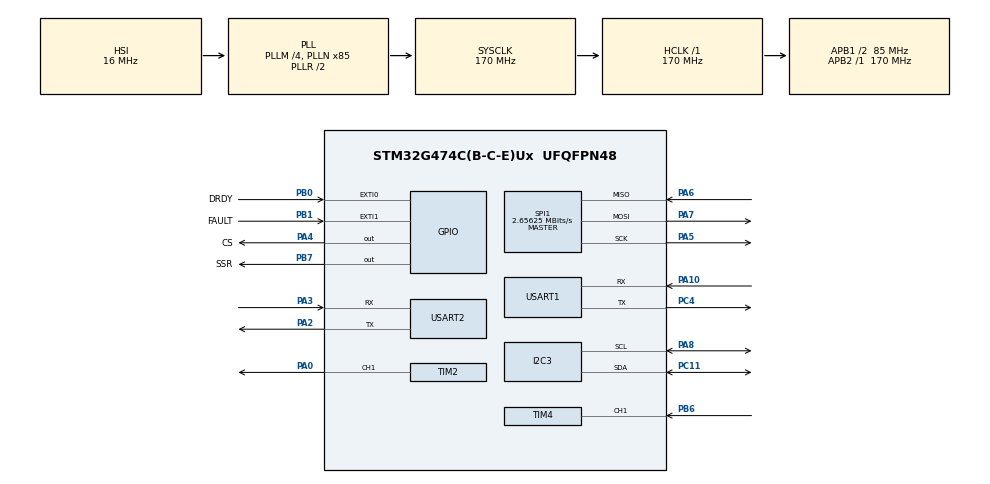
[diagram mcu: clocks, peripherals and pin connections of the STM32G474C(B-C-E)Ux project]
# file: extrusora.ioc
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Dma.Request0=USART1_RX
Dma.Request1=USART1_TX
Dma.Request2=USART2_RX
Dma.Request3=USART2_TX
Dma.USART1_RX.0.Direction=DMA_PERIPH_TO_MEMORY
Dma.USART1_RX.0.EventEnable=DISABLE
Dma.USART1_RX.0.Instance=DMA1_Channel1
Dma.USART1_RX.0.MemDataAlignment=DMA_MDATAALIGN_BYTE
Dma.USART1_RX.0.MemInc=DMA_MINC_ENABLE
Dma.USART1_RX.0.Mode=DMA_CIRCULAR
Dma.USART1_RX.0.PeriphDataAlignment=DMA_PDATAALIGN_BYTE
Dma.USART1_RX.0.PeriphInc=DMA_PINC_DISABLE
Dma.USART1_RX.0.Polarity=HAL_DMAMUX_REQ_GEN_RISING
Dma.USART1_RX.0.Priority=DMA_PRIORITY_HIGH
Dma.USART1_RX.0.RequestNumber=1
Dma.USART1_RX.0.SignalID=NONE
Dma.USART1_RX.0.SyncEnable=DISABLE
Dma.USART1_RX.0.SyncPolarity=HAL_DMAMUX_SYNC_NO_EVENT
Dma.USART1_RX.0.SyncRequestNumber=1
Dma.USART1_RX.0.SyncSignalID=NONE
Dma.USART1_TX.1.Direction=DMA_MEMORY_TO_PERIPH
Dma.USART1_TX.1.EventEnable=DISABLE
Dma.USART1_TX.1.Instance=DMA1_Channel2
Dma.USART1_TX.1.MemDataAlignment=DMA_MDATAALIGN_BYTE
Dma.USART1_TX.1.MemInc=DMA_MINC_ENABLE
Dma.USART1_TX.1.Mode=DMA_NORMAL
Dma.USART1_TX.1.PeriphDataAlignment=DMA_PDATAALIGN_BYTE
Dma.USART1_TX.1.PeriphInc=DMA_PINC_DISABLE
Dma.USART1_TX.1.Polarity=HAL_DMAMUX_REQ_GEN_RISING
Dma.USART1_TX.1.Priority=DMA_PRIORITY_MEDIUM
Dma.USART1_TX.1.RequestNumber=1
Dma.USART1_TX.1.SignalID=NONE
Dma.USART1_TX.1.SyncEnable=DISABLE
Dma.USART1_TX.1.SyncPolarity=HAL_DMAMUX_SYNC_NO_EVENT
Dma.USART1_TX.1.SyncRequestNumber=1
Dma.USART1_TX.1.SyncSignalID=NONE
Dma.USART2_RX.2.Direction=DMA_PERIPH_TO_MEMORY
Dma.USART2_RX.2.EventEnable=DISABLE
Dma.USART2_RX.2.Instance=DMA1_Channel3
Dma.USART2_RX.2.MemDataAlignment=DMA_MDATAALIGN_BYTE
Dma.USART2_RX.2.MemInc=DMA_MINC_ENABLE
Dma.USART2_RX.2.Mode=DMA_CIRCULAR
Dma.USART2_RX.2.PeriphDataAlignment=DMA_PDATAALIGN_BYTE
Dma.USART2_RX.2.PeriphInc=DMA_PINC_DISABLE
Dma.USART2_RX.2.Polarity=HAL_DMAMUX_REQ_GEN_RISING
Dma.USART2_RX.2.Priority=DMA_PRIORITY_HIGH
Dma.USART2_RX.2.RequestNumber=1
Dma.USART2_RX.2.SignalID=NONE
Dma.USART2_RX.2.SyncEnable=DISABLE
Dma.USART2_RX.2.SyncPolarity=HAL_DMAMUX_SYNC_NO_EVENT
Dma.USART2_RX.2.SyncRequestNumber=1
Dma.USART2_RX.2.SyncSignalID=NONE
Dma.USART2_TX.3.Direction=DMA_MEMORY_TO_PERIPH
Dma.USART2_TX.3.EventEnable=DISABLE
Dma.USART2_TX.3.Instance=DMA1_Channel4
Dma.USART2_TX.3.MemDataAlignment=DMA_MDATAALIGN_BYTE
Dma.USART2_TX.3.MemInc=DMA_MINC_ENABLE
Dma.USART2_TX.3.Mode=DMA_NORMAL
Dma.USART2_TX.3.PeriphDataAlignment=DMA_PDATAALIGN_BYTE
Dma.USART2_TX.3.PeriphInc=DMA_PINC_DISABLE
Dma.USART2_TX.3.Polarity=HAL_DMAMUX_REQ_GEN_RISING
Dma.USART2_TX.3.Priority=DMA_PRIORITY_MEDIUM
Dma.USART2_TX.3.RequestNumber=1
Dma.USART2_TX.3.SignalID=NONE
Dma.USART2_TX.3.SyncEnable=DISABLE
Dma.USART2_TX.3.SyncPolarity=HAL_DMAMUX_SYNC_NO_EVENT
Dma.USART2_TX.3.SyncRequestNumber=1
Dma.USART2_TX.3.SyncSignalID=NONE
FREERTOS.Mutexes01=ProcessDataMutex,Dynamic,NULL,Available
FREERTOS.Queues01=RxRPi5Queue,16,64,1,Dynamic,NULL,NULL;TxRPi5Queue,8,128,1,Dynamic,NULL,NULL;RxSTM32Queue,16,64,1,Dynamic,NULL,NULL;TxSTM32Queue,8,128,1,Dynamic,NULL,NULL
FREERTOS.Tasks01=defaultTask,8,128,StartDefaultTask,Default,NULL,Dynamic,NULL,NULL;SafetyTask,40,512,StartSafetyTask,Default,NULL,Dynamic,NULL,NULL;ControlTask,32,512,StartControlTask,Default,NULL,Dynamic,NULL,NULL;MotionTask,24,768,StartMotionTask,Default,NULL,Dynamic,NULL,NULL;CommTask,24,1024,StartCommTask,Default,NULL,Dynamic,NULL,NULL;ThermalTask,24,1024,StartThermalTask,Default,NULL,Dynamic,NULL,NULL;DisplayTask,8,1024,StartDisplayTask,Default,NULL,Dynamic,NULL,NULL
FREERTOS.configCHECK_FOR_STACK_OVERFLOW=2
FREERTOS.configMINIMAL_STACK_SIZE=128
FREERTOS.configTOTAL_HEAP_SIZE=65536
FREERTOS.configUSE_MALLOC_FAILED_HOOK=1
FREERTOS.configUSE_NEWLIB_REENTRANT=1
I2C3.Timing=0x10E1A6F2
Mcu.Family=STM32G4
Mcu.Name=STM32G474C(B-C-E)Ux
Mcu.Package=UFQFPN48
NVIC.DMA1_Channel1_IRQn=true\:5\:0\:true\:false\:true\:true\:false\:true\:true
NVIC.DMA1_Channel2_IRQn=true\:5\:0\:true\:false\:true\:true\:false\:true\:true
NVIC.DMA1_Channel3_IRQn=true\:5\:0\:false\:false\:true\:true\:false\:true\:true
NVIC.DMA1_Channel4_IRQn=true\:5\:0\:false\:false\:true\:true\:false\:true\:true
NVIC.EXTI0_IRQn=true\:5\:0\:true\:false\:true\:true\:true\:true\:true
NVIC.EXTI1_IRQn=true\:5\:0\:true\:false\:true\:true\:true\:true\:true
NVIC.PriorityGroup=NVIC_PRIORITYGROUP_4
NVIC.TIM4_IRQn=true\:5\:0\:false\:false\:true\:true\:true\:true\:true
NVIC.TIM6_DAC_IRQn=true\:15\:0\:false\:false\:true\:false\:false\:true\:true
NVIC.TIM7_DAC_IRQn=true\:5\:0\:false\:false\:true\:true\:true\:true\:true
NVIC.TimeBase=TIM6_DAC_IRQn
NVIC.TimeBaseIP=TIM6
NVIC.USART1_IRQn=true\:5\:0\:true\:false\:true\:true\:false\:true\:true
NVIC.USART2_IRQn=true\:5\:0\:false\:false\:true\:true\:true\:true\:true
PA0.Signal=S_TIM2_CH1
PA10.Mode=Asynchronous
PA10.Signal=USART1_RX
PA13.Mode=Serial_Wire
PA13.Signal=SYS_JTMS-SWDIO
PA14.Mode=Serial_Wire
PA14.Signal=SYS_JTCK-SWCLK
PA2.Mode=Asynchronous
PA2.Signal=USART2_TX
PA3.Mode=Asynchronous
PA3.Signal=USART2_RX
PA4.GPIO_Label=CS
PA4.PinState=GPIO_PIN_SET
PA4.Signal=GPIO_Output
PA5.GPIO_Speed=GPIO_SPEED_FREQ_VERY_HIGH
PA5.Mode=Full_Duplex_Master
PA5.Signal=SPI1_SCK
PA6.GPIO_Speed=GPIO_SPEED_FREQ_VERY_HIGH
PA6.Mode=Full_Duplex_Master
PA6.Signal=SPI1_MISO
PA7.GPIO_Speed=GPIO_SPEED_FREQ_VERY_HIGH
PA7.Mode=Full_Duplex_Master
PA7.Signal=SPI1_MOSI
PA8.Mode=I2C
PA8.Signal=I2C3_SCL
PB0.GPIO_Label=DRDY
PB0.GPIO_ModeDefaultEXTI=GPIO_MODE_IT_FALLING
PB0.GPIO_PuPd=GPIO_PULLUP
PB0.Signal=GPXTI0
PB1.GPIO_Label=FAULT
PB1.GPIO_ModeDefaultEXTI=GPIO_MODE_IT_FALLING
PB1.GPIO_PuPd=GPIO_PULLUP
PB1.Signal=GPXTI1
PB6.Signal=S_TIM4_CH1
PB7.GPIO_Label=SSR
PB7.GPIO_PuPd=GPIO_NOPULL
PB7.Signal=GPIO_Output
PC11.Mode=I2C
PC11.Signal=I2C3_SDA
PC4.Mode=Asynchronous
PC4.Signal=USART1_TX
ProjectManager.HeapSize=0x200
ProjectManager.StackSize=0x400
ProjectManager.TargetToolchain=STM32CubeIDE
RCC.ADC12Freq_Value=170000000
RCC.ADC345Freq_Value=170000000
RCC.AHBFreq_Value=170000000
RCC.APB1CLKDivider=RCC_HCLK_DIV2
RCC.APB1Freq_Value=85000000
RCC.APB1TimFreq_Value=170000000
RCC.APB2Freq_Value=170000000
RCC.APB2TimFreq_Value=170000000
RCC.CortexFreq_Value=170000000
RCC.EXTERNAL_CLOCK_VALUE=12288000
RCC.HCLKFreq_Value=170000000
RCC.HSE_VALUE=8000000
RCC.HSI48_VALUE=48000000
RCC.HSI_VALUE=16000000
RCC.LSE_VALUE=32768
RCC.PLLM=RCC_PLLM_DIV4
RCC.PLLN=85
RCC.SYSCLKFreq_VALUE=170000000
RCC.SYSCLKSource=RCC_SYSCLKSOURCE_PLLCLK
RCC.USBFreq_Value=170000000
RCC.VCOOutputFreq_Value=340000000
SH.S_TIM2_CH1.0=TIM2_CH1,PWM Generation1 CH1
SH.S_TIM4_CH1.0=TIM4_CH1,Input_Capture1_from_TI1
SPI1.BaudRatePrescaler=SPI_BAUDRATEPRESCALER_64
SPI1.CLKPhase=SPI_PHASE_2EDGE
SPI1.CalculateBaudRate=2.65625 MBits/s
SPI1.DataSize=SPI_DATASIZE_8BIT
SPI1.Direction=SPI_DIRECTION_2LINES
SPI1.Mode=SPI_MODE_MASTER
SPI1.VirtualType=VM_MASTER
TIM2.AutoReloadPreload=TIM_AUTORELOAD_PRELOAD_ENABLE
TIM2.Channel-PWM\ Generation1\ CH1=TIM_CHANNEL_1
TIM2.PeriodNoDither=9999
TIM2.Prescaler=169
TIM2.PulseNoDither_1=5000
TIM4.Channel-Input_Capture1_from_TI1=TIM_CHANNEL_1
TIM4.ICFilter_CH1=8
TIM4.ICPolarity_CH1=TIM_INPUTCHANNELPOLARITY_FALLING
TIM4.Prescaler=169
TIM7.AutoReloadPreload=TIM_AUTORELOAD_PRELOAD_ENABLE
TIM7.PeriodNoDither=99
TIM7.Prescaler=16999
USART1.VirtualMode-Asynchronous=VM_ASYNC
USART2.VirtualMode-Asynchronous=VM_ASYNC
VP_FREERTOS_VS_CMSIS_V2.Mode=CMSIS_V2
VP_SYS_VS_DBSignals.Mode=DisableDeadBatterySignals
VP_SYS_VS_tim6.Mode=TIM6
VP_TIM2_VS_ClockSourceINT.Mode=Internal
VP_TIM4_VS_ClockSourceINT.Mode=Internal
VP_TIM7_VS_ClockSourceINT.Mode=Enable_Timer
board=custom

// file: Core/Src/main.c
/* USER CODE BEGIN Header */
/**
  ******************************************************************************
  * @file           : main.c
  * @brief          : Main program body
  ******************************************************************************
  * @attention
  *
  * Copyright (c) 2026 STMicroelectronics.
  * All rights reserved.
  *
  * This software is licensed under terms that can be found in the LICENSE file
  * in the root directory of this software component.
  * If no LICENSE file comes with this software, it is provided AS-IS.
  *
  ******************************************************************************
  */
/* USER CODE END Header */
#include "main.h"
#include "cmsis_os.h"

/* USER CODE BEGIN Includes */
#include "process_data.h"
#include "safety.h"
#include "wrapper_fsm.h"
#include "uart_driver.h"
#include "protocol_hmi.h"
#include "protocol_winder.h"
#include "temperature_control.h"
#include "motor_control.h"
#include <stdio.h>
/* USER CODE END Includes */

I2C_HandleTypeDef hi2c3;

SPI_HandleTypeDef hspi1;

TIM_HandleTypeDef htim2;
TIM_HandleTypeDef htim4;
TIM_HandleTypeDef htim7;

UART_HandleTypeDef huart1;
UART_HandleTypeDef huart2;
DMA_HandleTypeDef hdma_usart1_rx;
DMA_HandleTypeDef hdma_usart1_tx;
DMA_HandleTypeDef hdma_usart2_rx;
DMA_HandleTypeDef hdma_usart2_tx;

/* Definitions for defaultTask */
osThreadId_t defaultTaskHandle;
const osThreadAttr_t defaultTask_attributes = {
  .name = "defaultTask",
  .priority = (osPriority_t) osPriorityLow,
  .stack_size = 128 * 4
};
/* Definitions for SafetyTask */
osThreadId_t SafetyTaskHandle;
const osThreadAttr_t SafetyTask_attributes = {
  .name = "SafetyTask",
  .priority = (osPriority_t) osPriorityHigh,
  .stack_size = 512 * 4
};
/* Definitions for ControlTask */
osThreadId_t ControlTaskHandle;
const osThreadAttr_t ControlTask_attributes = {
  .name = "ControlTask",
  .priority = (osPriority_t) osPriorityAboveNormal,
  .stack_size = 512 * 4
};
/* Definitions for MotionTask */
osThreadId_t MotionTaskHandle;
const osThreadAttr_t MotionTask_attributes = {
  .name = "MotionTask",
  .priority = (osPriority_t) osPriorityNormal,
  .stack_size = 768 * 4
};
/* Definitions for CommTask */
osThreadId_t CommTaskHandle;
const osThreadAttr_t CommTask_attributes = {
  .name = "CommTask",
  .priority = (osPriority_t) osPriorityNormal,
  .stack_size = 1024 * 4
};
/* Definitions for ThermalTask */
osThreadId_t ThermalTaskHandle;
const osThreadAttr_t ThermalTask_attributes = {
  .name = "ThermalTask",
  .priority = (osPriority_t) osPriorityNormal,
  .stack_size = 1024 * 4
};
/* Definitions for DisplayTask */
osThreadId_t DisplayTaskHandle;
const osThreadAttr_t DisplayTask_attributes = {
  .name = "DisplayTask",
  .priority = (osPriority_t) osPriorityLow,
  .stack_size = 1024 * 4
};
/* Definitions for RxRPi5Queue */
osMessageQueueId_t RxRPi5QueueHandle;
const osMessageQueueAttr_t RxRPi5Queue_attributes = {
  .name = "RxRPi5Queue"
};
/* Definitions for TxRPi5Queue */
osMessageQueueId_t TxRPi5QueueHandle;
const osMessageQueueAttr_t TxRPi5Queue_attributes = {
  .name = "TxRPi5Queue"
};
/* Definitions for RxSTM32Queue */
osMessageQueueId_t RxSTM32QueueHandle;
const osMessageQueueAttr_t RxSTM32Queue_attributes = {
  .name = "RxSTM32Queue"
};
/* Definitions for TxSTM32Queue */
osMessageQueueId_t TxSTM32QueueHandle;
const osMessageQueueAttr_t TxSTM32Queue_attributes = {
  .name = "TxSTM32Queue"
};
/* Definitions for ProcessDataMutex */
osMutexId_t ProcessDataMutexHandle;
const osMutexAttr_t ProcessDataMutex_attributes = {
  .name = "ProcessDataMutex"
};
/* USER CODE BEGIN PV */
static UartDriver_t uart_hmi;
static UartDriver_t uart_winder;
/* USER CODE END PV */

void SystemClock_Config(void);
static void MX_GPIO_Init(void);
static void MX_DMA_Init(void);
static void MX_USART1_UART_Init(void);
static void MX_SPI1_Init(void);
static void MX_TIM2_Init(void);
static void MX_TIM7_Init(void);
static void MX_USART2_UART_Init(void);
static void MX_I2C3_Init(void);
static void MX_TIM4_Init(void);
void StartDefaultTask(void *argument);
void StartSafetyTask(void *argument);
void StartControlTask(void *argument);
void StartMotionTask(void *argument);
void StartCommTask(void *argument);
void StartThermalTask(void *argument);
void StartDisplayTask(void *argument);

int main(void)
{

  /* MCU Configuration--------------------------------------------------------*/

  /* Reset of all peripherals, Initializes the Flash interface and the Systick. */
  HAL_Init();

  /* Configure the system clock */
  SystemClock_Config();

  /* Initialize all configured peripherals */
  MX_GPIO_Init();
  MX_DMA_Init();
  MX_USART1_UART_Init();
  MX_SPI1_Init();
  MX_TIM2_Init();
  MX_TIM7_Init();
  MX_USART2_UART_Init();
  MX_I2C3_Init();
  MX_TIM4_Init();
  /* USER CODE BEGIN 2 */
  ProcessData_Init();
  Safety_Init();
  ExtruderFSM_Init();
  MotorControl_Init();
  TemperatureControl_Init(&hspi1);
  /* USER CODE END 2 */

  /* Init scheduler */
  osKernelInitialize();
  /* Create the mutex(es) */
  /* creation of ProcessDataMutex */
  ProcessDataMutexHandle = osMutexNew(&ProcessDataMutex_attributes);

  /* Create the queue(s) */
  /* creation of RxRPi5Queue */
  RxRPi5QueueHandle = osMessageQueueNew (16, 64, &RxRPi5Queue_attributes);

  /* creation of TxRPi5Queue */
  TxRPi5QueueHandle = osMessageQueueNew (8, 128, &TxRPi5Queue_attributes);

  /* creation of RxSTM32Queue */
  RxSTM32QueueHandle = osMessageQueueNew (16, 64, &RxSTM32Queue_attributes);

  /* creation of TxSTM32Queue */
  TxSTM32QueueHandle = osMessageQueueNew (8, 128, &TxSTM32Queue_attributes);

  /* Create the thread(s) */
  /* creation of defaultTask */
  defaultTaskHandle = osThreadNew(StartDefaultTask, NULL, &defaultTask_attributes);

  /* creation of SafetyTask */
  SafetyTaskHandle = osThreadNew(StartSafetyTask, NULL, &SafetyTask_attributes);

  /* creation of ControlTask */
  ControlTaskHandle = osThreadNew(StartControlTask, NULL, &ControlTask_attributes);

  /* creation of MotionTask */
  MotionTaskHandle = osThreadNew(StartMotionTask, NULL, &MotionTask_attributes);

  /* creation of CommTask */
  CommTaskHandle = osThreadNew(StartCommTask, NULL, &CommTask_attributes);

  /* creation of ThermalTask */
  ThermalTaskHandle = osThreadNew(StartThermalTask, NULL, &ThermalTask_attributes);

  /* creation of DisplayTask */
  DisplayTaskHandle = osThreadNew(StartDisplayTask, NULL, &DisplayTask_attributes);

  /* Start scheduler */
  osKernelStart();

  /* We should never get here as control is now taken by the scheduler */

  /* Infinite loop */
  while (1)
  {

  }
}

void SystemClock_Config(void)
{
  RCC_OscInitTypeDef RCC_OscInitStruct = {0};
  RCC_ClkInitTypeDef RCC_ClkInitStruct = {0};

  /** Configure the main internal regulator output voltage
  */
  HAL_PWREx_ControlVoltageScaling(PWR_REGULATOR_VOLTAGE_SCALE1_BOOST);

  /** Initializes the RCC Oscillators according to the specified parameters
  * in the RCC_OscInitTypeDef structure.
  */
  RCC_OscInitStruct.OscillatorType = RCC_OSCILLATORTYPE_HSI;
  RCC_OscInitStruct.HSIState = RCC_HSI_ON;
  RCC_OscInitStruct.HSICalibrationValue = RCC_HSICALIBRATION_DEFAULT;
  RCC_OscInitStruct.PLL.PLLState = RCC_PLL_ON;
  RCC_OscInitStruct.PLL.PLLSource = RCC_PLLSOURCE_HSI;
  RCC_OscInitStruct.PLL.PLLM = RCC_PLLM_DIV4;
  RCC_OscInitStruct.PLL.PLLN = 85;
  RCC_OscInitStruct.PLL.PLLP = RCC_PLLP_DIV2;
  RCC_OscInitStruct.PLL.PLLQ = RCC_PLLQ_DIV2;
  RCC_OscInitStruct.PLL.PLLR = RCC_PLLR_DIV2;
  if (HAL_RCC_OscConfig(&RCC_OscInitStruct) != HAL_OK)
  {
    Error_Handler();
  }

  /** Initializes the CPU, AHB and APB buses clocks
  */
  RCC_ClkInitStruct.ClockType = RCC_CLOCKTYPE_HCLK|RCC_CLOCKTYPE_SYSCLK
                              |RCC_CLOCKTYPE_PCLK1|RCC_CLOCKTYPE_PCLK2;
  RCC_ClkInitStruct.SYSCLKSource = RCC_SYSCLKSOURCE_PLLCLK;
  RCC_ClkInitStruct.AHBCLKDivider = RCC_SYSCLK_DIV1;
  RCC_ClkInitStruct.APB1CLKDivider = RCC_HCLK_DIV2;
  RCC_ClkInitStruct.APB2CLKDivider = RCC_HCLK_DIV1;

  if (HAL_RCC_ClockConfig(&RCC_ClkInitStruct, FLASH_LATENCY_4) != HAL_OK)
  {
    Error_Handler();
  }
}

static void MX_I2C3_Init(void)
{

  hi2c3.Instance = I2C3;
  hi2c3.Init.Timing = 0x10E1A6F2;
  hi2c3.Init.OwnAddress1 = 0;
  hi2c3.Init.AddressingMode = I2C_ADDRESSINGMODE_7BIT;
  hi2c3.Init.DualAddressMode = I2C_DUALADDRESS_DISABLE;
  hi2c3.Init.OwnAddress2 = 0;
  hi2c3.Init.OwnAddress2Masks = I2C_OA2_NOMASK;
  hi2c3.Init.GeneralCallMode = I2C_GENERALCALL_DISABLE;
  hi2c3.Init.NoStretchMode = I2C_NOSTRETCH_DISABLE;
  if (HAL_I2C_Init(&hi2c3) != HAL_OK)
  {
    Error_Handler();
  }

  /** Configure Analogue filter
  */
  if (HAL_I2CEx_ConfigAnalogFilter(&hi2c3, I2C_ANALOGFILTER_ENABLE) != HAL_OK)
  {
    Error_Handler();
  }

  /** Configure Digital filter
  */
  if (HAL_I2CEx_ConfigDigitalFilter(&hi2c3, 0) != HAL_OK)
  {
    Error_Handler();
  }

}

static void MX_SPI1_Init(void)
{

  /* SPI1 parameter configuration*/
  hspi1.Instance = SPI1;
  hspi1.Init.Mode = SPI_MODE_MASTER;
  hspi1.Init.Direction = SPI_DIRECTION_2LINES;
  hspi1.Init.DataSize = SPI_DATASIZE_8BIT;
  hspi1.Init.CLKPolarity = SPI_POLARITY_LOW;
  hspi1.Init.CLKPhase = SPI_PHASE_2EDGE;
  hspi1.Init.NSS = SPI_NSS_SOFT;
  hspi1.Init.BaudRatePrescaler = SPI_BAUDRATEPRESCALER_64;
  hspi1.Init.FirstBit = SPI_FIRSTBIT_MSB;
  hspi1.Init.TIMode = SPI_TIMODE_DISABLE;
  hspi1.Init.CRCCalculation = SPI_CRCCALCULATION_DISABLE;
  hspi1.Init.CRCPolynomial = 7;
  hspi1.Init.CRCLength = SPI_CRC_LENGTH_DATASIZE;
  hspi1.Init.NSSPMode = SPI_NSS_PULSE_DISABLE;
  if (HAL_SPI_Init(&hspi1) != HAL_OK)
  {
    Error_Handler();
  }

}

static void MX_TIM2_Init(void)
{

  TIM_ClockConfigTypeDef sClockSourceConfig = {0};
  TIM_MasterConfigTypeDef sMasterConfig = {0};
  TIM_OC_InitTypeDef sConfigOC = {0};

  htim2.Instance = TIM2;
  htim2.Init.Prescaler = 169;
  htim2.Init.CounterMode = TIM_COUNTERMODE_UP;
  htim2.Init.Period = 9999;
  htim2.Init.ClockDivision = TIM_CLOCKDIVISION_DIV1;
  htim2.Init.AutoReloadPreload = TIM_AUTORELOAD_PRELOAD_ENABLE;
  if (HAL_TIM_Base_Init(&htim2) != HAL_OK)
  {
    Error_Handler();
  }
  sClockSourceConfig.ClockSource = TIM_CLOCKSOURCE_INTERNAL;
  if (HAL_TIM_ConfigClockSource(&htim2, &sClockSourceConfig) != HAL_OK)
  {
    Error_Handler();
  }
  if (HAL_TIM_PWM_Init(&htim2) != HAL_OK)
  {
    Error_Handler();
  }
  sMasterConfig.MasterOutputTrigger = TIM_TRGO_RESET;
  sMasterConfig.MasterSlaveMode = TIM_MASTERSLAVEMODE_DISABLE;
  if (HAL_TIMEx_MasterConfigSynchronization(&htim2, &sMasterConfig) != HAL_OK)
  {
    Error_Handler();
  }
  sConfigOC.OCMode = TIM_OCMODE_PWM1;
  sConfigOC.Pulse = 5000;
  sConfigOC.OCPolarity = TIM_OCPOLARITY_HIGH;
  sConfigOC.OCFastMode = TIM_OCFAST_DISABLE;
  if (HAL_TIM_PWM_ConfigChannel(&htim2, &sConfigOC, TIM_CHANNEL_1) != HAL_OK)
  {
    Error_Handler();
  }
  HAL_TIM_MspPostInit(&htim2);

}

static void MX_TIM4_Init(void)
{

  TIM_ClockConfigTypeDef sClockSourceConfig = {0};
  TIM_MasterConfigTypeDef sMasterConfig = {0};
  TIM_IC_InitTypeDef sConfigIC = {0};

  htim4.Instance = TIM4;
  htim4.Init.Prescaler = 169;
  htim4.Init.CounterMode = TIM_COUNTERMODE_UP;
  htim4.Init.Period = 65535;
  htim4.Init.ClockDivision = TIM_CLOCKDIVISION_DIV1;
  htim4.Init.AutoReloadPreload = TIM_AUTORELOAD_PRELOAD_DISABLE;
  if (HAL_TIM_Base_Init(&htim4) != HAL_OK)
  {
    Error_Handler();
  }
  sClockSourceConfig.ClockSource = TIM_CLOCKSOURCE_INTERNAL;
  if (HAL_TIM_ConfigClockSource(&htim4, &sClockSourceConfig) != HAL_OK)
  {
    Error_Handler();
  }
  if (HAL_TIM_IC_Init(&htim4) != HAL_OK)
  {
    Error_Handler();
  }
  sMasterConfig.MasterOutputTrigger = TIM_TRGO_RESET;
  sMasterConfig.MasterSlaveMode = TIM_MASTERSLAVEMODE_DISABLE;
  if (HAL_TIMEx_MasterConfigSynchronization(&htim4, &sMasterConfig) != HAL_OK)
  {
    Error_Handler();
  }
  sConfigIC.ICPolarity = TIM_INPUTCHANNELPOLARITY_FALLING;
  sConfigIC.ICSelection = TIM_ICSELECTION_DIRECTTI;
  sConfigIC.ICPrescaler = TIM_ICPSC_DIV1;
  sConfigIC.ICFilter = 8;
  if (HAL_TIM_IC_ConfigChannel(&htim4, &sConfigIC, TIM_CHANNEL_1) != HAL_OK)
  {
    Error_Handler();
  }

}

static void MX_TIM7_Init(void)
{

  TIM_MasterConfigTypeDef sMasterConfig = {0};

  htim7.Instance = TIM7;
  htim7.Init.Prescaler = 16999;
  htim7.Init.CounterMode = TIM_COUNTERMODE_UP;
  htim7.Init.Period = 99;
  htim7.Init.AutoReloadPreload = TIM_AUTORELOAD_PRELOAD_ENABLE;
  if (HAL_TIM_Base_Init(&htim7) != HAL_OK)
  {
    Error_Handler();
  }
  sMasterConfig.MasterOutputTrigger = TIM_TRGO_RESET;
  sMasterConfig.MasterSlaveMode = TIM_MASTERSLAVEMODE_DISABLE;
  if (HAL_TIMEx_MasterConfigSynchronization(&htim7, &sMasterConfig) != HAL_OK)
  {
    Error_Handler();
  }

}

static void MX_USART1_UART_Init(void)
{

  huart1.Instance = USART1;
  huart1.Init.BaudRate = 115200;
  huart1.Init.WordLength = UART_WORDLENGTH_8B;
  huart1.Init.StopBits = UART_STOPBITS_1;
  huart1.Init.Parity = UART_PARITY_NONE;
  huart1.Init.Mode = UART_MODE_TX_RX;
  huart1.Init.HwFlowCtl = UART_HWCONTROL_NONE;
  huart1.Init.OverSampling = UART_OVERSAMPLING_16;
  huart1.Init.OneBitSampling = UART_ONE_BIT_SAMPLE_DISABLE;
  huart1.Init.ClockPrescaler = UART_PRESCALER_DIV1;
  huart1.AdvancedInit.AdvFeatureInit = UART_ADVFEATURE_NO_INIT;
  if (HAL_UART_Init(&huart1) != HAL_OK)
  {
    Error_Handler();
  }
  if (HAL_UARTEx_SetTxFifoThreshold(&huart1, UART_TXFIFO_THRESHOLD_1_8) != HAL_OK)
  {
    Error_Handler();
  }
  if (HAL_UARTEx_SetRxFifoThreshold(&huart1, UART_RXFIFO_THRESHOLD_1_8) != HAL_OK)
  {
    Error_Handler();
  }
  if (HAL_UARTEx_DisableFifoMode(&huart1) != HAL_OK)
  {
    Error_Handler();
  }

}

static void MX_USART2_UART_Init(void)
{

  huart2.Instance = USART2;
  huart2.Init.BaudRate = 115200;
  huart2.Init.WordLength = UART_WORDLENGTH_8B;
  huart2.Init.StopBits = UART_STOPBITS_1;
  huart2.Init.Parity = UART_PARITY_NONE;
  huart2.Init.Mode = UART_MODE_TX_RX;
  huart2.Init.HwFlowCtl = UART_HWCONTROL_NONE;
  huart2.Init.OverSampling = UART_OVERSAMPLING_16;
  huart2.Init.OneBitSampling = UART_ONE_BIT_SAMPLE_DISABLE;
  huart2.Init.ClockPrescaler = UART_PRESCALER_DIV1;
  huart2.AdvancedInit.AdvFeatureInit = UART_ADVFEATURE_NO_INIT;
  if (HAL_UART_Init(&huart2) != HAL_OK)
  {
    Error_Handler();
  }
  if (HAL_UARTEx_SetTxFifoThreshold(&huart2, UART_TXFIFO_THRESHOLD_1_8) != HAL_OK)
  {
    Error_Handler();
  }
  if (HAL_UARTEx_SetRxFifoThreshold(&huart2, UART_RXFIFO_THRESHOLD_1_8) != HAL_OK)
  {
    Error_Handler();
  }
  if (HAL_UARTEx_DisableFifoMode(&huart2) != HAL_OK)
  {
    Error_Handler();
  }

}

static void MX_DMA_Init(void)
{

  /* DMA controller clock enable */
  __HAL_RCC_DMAMUX1_CLK_ENABLE();
  __HAL_RCC_DMA1_CLK_ENABLE();

  /* DMA interrupt init */
  /* DMA1_Channel1_IRQn interrupt configuration */
  HAL_NVIC_SetPriority(DMA1_Channel1_IRQn, 5, 0);
  HAL_NVIC_EnableIRQ(DMA1_Channel1_IRQn);
  /* DMA1_Channel2_IRQn interrupt configuration */
  HAL_NVIC_SetPriority(DMA1_Channel2_IRQn, 5, 0);
  HAL_NVIC_EnableIRQ(DMA1_Channel2_IRQn);
  /* DMA1_Channel3_IRQn interrupt configuration */
  HAL_NVIC_SetPriority(DMA1_Channel3_IRQn, 5, 0);
  HAL_NVIC_EnableIRQ(DMA1_Channel3_IRQn);
  /* DMA1_Channel4_IRQn interrupt configuration */
  HAL_NVIC_SetPriority(DMA1_Channel4_IRQn, 5, 0);
  HAL_NVIC_EnableIRQ(DMA1_Channel4_IRQn);

}

static void MX_GPIO_Init(void)
{
  GPIO_InitTypeDef GPIO_InitStruct = {0};

  /* GPIO Ports Clock Enable */
  __HAL_RCC_GPIOA_CLK_ENABLE();
  __HAL_RCC_GPIOC_CLK_ENABLE();
  __HAL_RCC_GPIOB_CLK_ENABLE();

  /*Configure GPIO pin Output Level */
  HAL_GPIO_WritePin(CS_GPIO_Port, CS_Pin, GPIO_PIN_SET);

  /*Configure GPIO pin Output Level */
  HAL_GPIO_WritePin(SSR_GPIO_Port, SSR_Pin, GPIO_PIN_RESET);

  /*Configure GPIO pin : CS_Pin */
  GPIO_InitStruct.Pin = CS_Pin;
  GPIO_InitStruct.Mode = GPIO_MODE_OUTPUT_PP;
  GPIO_InitStruct.Pull = GPIO_NOPULL;
  GPIO_InitStruct.Speed = GPIO_SPEED_FREQ_LOW;
  HAL_GPIO_Init(CS_GPIO_Port, &GPIO_InitStruct);

  /*Configure GPIO pins : DRDY_Pin FAULT_Pin */
  GPIO_InitStruct.Pin = DRDY_Pin|FAULT_Pin;
  GPIO_InitStruct.Mode = GPIO_MODE_IT_FALLING;
  GPIO_InitStruct.Pull = GPIO_PULLUP;
  HAL_GPIO_Init(GPIOB, &GPIO_InitStruct);

  /*Configure GPIO pin : SSR_Pin */
  GPIO_InitStruct.Pin = SSR_Pin;
  GPIO_InitStruct.Mode = GPIO_MODE_OUTPUT_PP;
  GPIO_InitStruct.Pull = GPIO_NOPULL;
  GPIO_InitStruct.Speed = GPIO_SPEED_FREQ_LOW;
  HAL_GPIO_Init(SSR_GPIO_Port, &GPIO_InitStruct);

  /* EXTI interrupt init*/
  HAL_NVIC_SetPriority(EXTI0_IRQn, 5, 0);
  HAL_NVIC_EnableIRQ(EXTI0_IRQn);

  HAL_NVIC_SetPriority(EXTI1_IRQn, 5, 0);
  HAL_NVIC_EnableIRQ(EXTI1_IRQn);

}

void StartDefaultTask(void *argument)
{
  for(;;)
  {
    osDelay(1);
  }
}

void StartSafetyTask(void *argument)
{
  /* USER CODE BEGIN StartSafetyTask */
  /* Infinite loop */
  for(;;)
  {
	  Safety_Update();
	  osDelay(10);
  }
  /* USER CODE END StartSafetyTask */
}

void StartControlTask(void *argument)
{
  /* USER CODE BEGIN StartControlTask */

  /* Infinite loop */
  for(;;)
  {
      ExtruderFSM_Update();
      osDelay(10);
  }
  /* USER CODE END StartControlTask */
}

void StartMotionTask(void *argument)
{
  /* USER CODE BEGIN StartMotionTask */

    for (;;)
    {
        MotorControl_Update();
        osDelay(MOTOR_CONTROL_PERIOD_MS);
    }

  /* USER CODE END StartMotionTask */
}

void StartCommTask(void *argument)
{
    char line[128];

    const uint32_t winder_poll_period_ticks = 250;
    uint32_t next_winder_poll;

    UartDriver_Init(&uart_hmi, &huart1, "HMI");
    UartDriver_Init(&uart_winder, &huart2, "WINDER");

    ProtocolHMI_Init(&uart_hmi);
    ProtocolWinder_Init(&uart_winder);

    next_winder_poll = osKernelGetTickCount() + winder_poll_period_ticks;

    for (;;)
    {
        UartDriver_Service(&uart_hmi);
        UartDriver_Service(&uart_winder);

        while (UartDriver_ReadLine(&uart_hmi, line, sizeof(line), 0))
        {
            ProtocolHMI_ProcessLine(line);
        }

        while (UartDriver_ReadLine(&uart_winder, line, sizeof(line), 0))
        {
            ProtocolWinder_ProcessLine(line);
        }

        uint32_t now = osKernelGetTickCount();

        if ((int32_t)(now - next_winder_poll) >= 0)
        {
            ProtocolWinder_PollState();
            next_winder_poll = now + winder_poll_period_ticks;
            continue;
        }

        uint32_t wait_ticks = next_winder_poll - now;

        osThreadFlagsWait(
            UART_DRIVER_FLAG_RX |
            UART_DRIVER_FLAG_TX |
            UART_DRIVER_FLAG_ERR,
            osFlagsWaitAny,
            wait_ticks
        );
    }
}

void StartThermalTask(void *argument)
{
  /* USER CODE BEGIN StartThermalTask */

    for (;;)
    {
        TemperatureControl_Update();
        osDelay(10);
    }

  /* USER CODE END StartThermalTask */
}

void StartDisplayTask(void *argument)
{
  for(;;)
  {
    osDelay(1);
  }
}

void HAL_TIM_PeriodElapsedCallback(TIM_HandleTypeDef *htim)
{
  if (htim->Instance == TIM6)
  {
    HAL_IncTick();
  }
}

void Error_Handler(void)
{
  __disable_irq();
  while (1)
  {
  }
}
